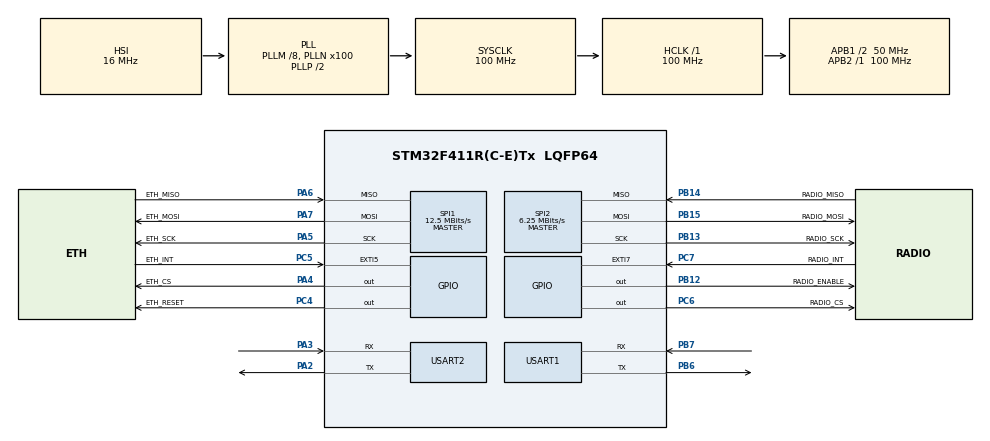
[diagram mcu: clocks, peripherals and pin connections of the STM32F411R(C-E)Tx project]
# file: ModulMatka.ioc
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Mcu.Family=STM32F4
Mcu.Name=STM32F411R(C-E)Tx
Mcu.Package=LQFP64
NVIC.EXTI9_5_IRQn=true\:0\:0\:false\:false\:true\:true
NVIC.PriorityGroup=NVIC_PRIORITYGROUP_4
PA13.Mode=Serial_Wire
PA13.Signal=SYS_JTMS-SWDIO
PA14.Mode=Serial_Wire
PA14.Signal=SYS_JTCK-SWCLK
PA2.Mode=Asynchronous
PA2.Signal=USART2_TX
PA3.Mode=Asynchronous
PA3.Signal=USART2_RX
PA4.GPIO_Label=ETH_CS
PA4.Signal=GPIO_Output
PA5.GPIO_Label=ETH_SCK
PA5.Mode=Full_Duplex_Master
PA5.Signal=SPI1_SCK
PA6.GPIO_Label=ETH_MISO
PA6.Mode=Full_Duplex_Master
PA6.Signal=SPI1_MISO
PA7.GPIO_Label=ETH_MOSI
PA7.Mode=Full_Duplex_Master
PA7.Signal=SPI1_MOSI
PB12.GPIO_Label=RADIO_ENABLE
PB12.Signal=GPIO_Output
PB13.GPIO_Label=RADIO_SCK
PB13.Mode=Full_Duplex_Master
PB13.Signal=SPI2_SCK
PB14.GPIO_Label=RADIO_MISO
PB14.Mode=Full_Duplex_Master
PB14.Signal=SPI2_MISO
PB15.GPIO_Label=RADIO_MOSI
PB15.Mode=Full_Duplex_Master
PB15.Signal=SPI2_MOSI
PB6.Mode=Asynchronous
PB6.Signal=USART1_TX
PB7.Mode=Asynchronous
PB7.Signal=USART1_RX
PC4.GPIO_Label=ETH_RESET
PC4.Signal=GPIO_Output
PC5.GPIO_Label=ETH_INT
PC5.GPIO_ModeDefaultEXTI=GPIO_MODE_IT_FALLING
PC5.Signal=GPXTI5
PC6.GPIO_Label=RADIO_CS
PC6.Signal=GPIO_Output
PC7.GPIO_Label=RADIO_INT
PC7.Signal=GPXTI7
ProjectManager.HeapSize=0x200
ProjectManager.StackSize=0x400
ProjectManager.TargetToolchain=TrueSTUDIO
RCC.48MHZClocksFreq_Value=50000000
RCC.AHBFreq_Value=100000000
RCC.APB1CLKDivider=RCC_HCLK_DIV2
RCC.APB1Freq_Value=50000000
RCC.APB1TimFreq_Value=100000000
RCC.APB2Freq_Value=100000000
RCC.APB2TimFreq_Value=100000000
RCC.CortexFreq_Value=100000000
RCC.HCLKFreq_Value=100000000
RCC.HSE_VALUE=25000000
RCC.HSI_VALUE=16000000
RCC.LSE_VALUE=32768
RCC.PLLM=8
RCC.PLLMUL=RCC_PLL_MUL12
RCC.PLLN=100
RCC.SYSCLKFreq_VALUE=100000000
RCC.SYSCLKSource=RCC_SYSCLKSOURCE_PLLCLK
RCC.VCOOutputFreq_Value=200000000
SPI1.BaudRatePrescaler=SPI_BAUDRATEPRESCALER_8
SPI1.CalculateBaudRate=12.5 MBits/s
SPI1.DataSize=SPI_DATASIZE_8BIT
SPI1.Direction=SPI_DIRECTION_2LINES
SPI1.Mode=SPI_MODE_MASTER
SPI1.VirtualType=VM_MASTER
SPI2.BaudRatePrescaler=SPI_BAUDRATEPRESCALER_8
SPI2.CalculateBaudRate=6.25 MBits/s
SPI2.DataSize=SPI_DATASIZE_8BIT
SPI2.Direction=SPI_DIRECTION_2LINES
SPI2.Mode=SPI_MODE_MASTER
SPI2.VirtualType=VM_MASTER
USART1.VirtualMode=VM_ASYNC
USART1.VirtualMode-Asynchronous=VM_ASYNC
USART2.VirtualMode=VM_ASYNC
board=ModulMatka

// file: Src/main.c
/**
  ******************************************************************************
  * @file           : main.c
  * @brief          : Main program body
  ******************************************************************************
  ** This notice applies to any and all portions of this file
  * that are not between comment pairs USER CODE BEGIN and
  * USER CODE END. Other portions of this file, whether
  * inserted by the user or by software development tools
  * are owned by their respective copyright owners.
  *
  * COPYRIGHT(c) 2018 STMicroelectronics
  *
  * Redistribution and use in source and binary forms, with or without modification,
  * are permitted provided that the following conditions are met:
  *   1. Redistributions of source code must retain the above copyright notice,
  *      this list of conditions and the following disclaimer.
  *   2. Redistributions in binary form must reproduce the above copyright notice,
  *      this list of conditions and the following disclaimer in the documentation
  *      and/or other materials provided with the distribution.
  *   3. Neither the name of STMicroelectronics nor the names of its contributors
  *      may be used to endorse or promote products derived from this software
  *      without specific prior written permission.
  *
  * THIS SOFTWARE IS PROVIDED BY THE COPYRIGHT HOLDERS AND CONTRIBUTORS "AS IS"
  * AND ANY EXPRESS OR IMPLIED WARRANTIES, INCLUDING, BUT NOT LIMITED TO, THE
  * IMPLIED WARRANTIES OF MERCHANTABILITY AND FITNESS FOR A PARTICULAR PURPOSE ARE
  * DISCLAIMED. IN NO EVENT SHALL THE COPYRIGHT HOLDER OR CONTRIBUTORS BE LIABLE
  * FOR ANY DIRECT, INDIRECT, INCIDENTAL, SPECIAL, EXEMPLARY, OR CONSEQUENTIAL
  * DAMAGES (INCLUDING, BUT NOT LIMITED TO, PROCUREMENT OF SUBSTITUTE GOODS OR
  * SERVICES; LOSS OF USE, DATA, OR PROFITS; OR BUSINESS INTERRUPTION) HOWEVER
  * CAUSED AND ON ANY THEORY OF LIABILITY, WHETHER IN CONTRACT, STRICT LIABILITY,
  * OR TORT (INCLUDING NEGLIGENCE OR OTHERWISE) ARISING IN ANY WAY OUT OF THE USE
  * OF THIS SOFTWARE, EVEN IF ADVISED OF THE POSSIBILITY OF SUCH DAMAGE.
  *
  ******************************************************************************
  */
#include "main.h"
#include "stm32f4xx_hal.h"
#include "spi.h"
#include "usart.h"
#include "gpio.h"

/* USER CODE BEGIN Includes */
#include "../Servers/udpecho_raw/udpecho_raw.h"
#include "enc28j60.h"
#include "tm_stm32f4_nrf24l01.h"
#include <stdlib.h>
#include "main_module_radio.h"
/* USER CODE END Includes */

/* USER CODE BEGIN PV */
/* Private variables ---------------------------------------------------------*/

/* USER CODE END PV */

void SystemClock_Config(void);

/* USER CODE BEGIN PFP */
/* Private function prototypes -----------------------------------------------*/

/* USER CODE END PFP */

int main(void)
{

  /* MCU Configuration----------------------------------------------------------*/

  /* Reset of all peripherals, Initializes the Flash interface and the Systick. */
  HAL_Init();

  /* Configure the system clock */
  SystemClock_Config();

  /* Initialize all configured peripherals */
  MX_GPIO_Init();
  MX_SPI1_Init();
  MX_SPI2_Init();
  MX_USART1_UART_Init();
  MX_USART2_UART_Init();
  /* USER CODE BEGIN 2 */
//	handModuleRadioInit();
//	char dataOut[32], dataIn[32];
//	TM_NRF24L01_Transmit_Status_t transmissionStatus;
	mainModuleRadioInit();
	TM_NRF24L01_Transmit_Status_t transmissionStatus;
	uint8_t dataIn[32];

	uint8_t isConnection = 1;
	uint8_t data = 0;
  /* USER CODE END 2 */

  /* Infinite loop */
  /* USER CODE BEGIN WHILE */
	while (1) {
		uint8_t a[] = { 'a' };
		TM_NRF24L01_Transmit(a);

		/* Turn on led to indicate sending */
		/* Wait for data to be sent */
		do {
			transmissionStatus = TM_NRF24L01_GetTransmissionStatus();
		} while (transmissionStatus == TM_NRF24L01_Transmit_Status_Sending);
		/* Go back to RX mode */
		TM_NRF24L01_PowerUpRx();

		for (int i = 0; !TM_NRF24L01_DataReady() && i < 10; i++) {
			HAL_Delay(10);
		}
		/* Get data from NRF24L01+ */
		if (TM_NRF24L01_DataReady()) {
			TM_NRF24L01_GetData(dataIn);
			printf("%s\r\n", dataIn);
		}

//		if (TM_NRF24L01_DataReady()) {
//			/* Get data from NRF24L01+ */
//			TM_NRF24L01_GetData((uint8_t*)dataIn);
////			printf("data received: %s", dataIn);
//
//			if (dataIn[0] == 'a') {
//				isConnection = 1;
//			}
//		}
//		if (isConnection == 1) {
//			sprintf(dataOut, "New data: %d", data);
//			TM_NRF24L01_Transmit((uint8_t*)dataOut);
//			/* Wait for data to be sent */
//			do {
//				transmissionStatus = TM_NRF24L01_GetTransmissionStatus();
//			} while (transmissionStatus == TM_NRF24L01_Transmit_Status_Sending);
//			data++;
//			isConnection = 0;
//			/* Go back to RX Mode */
//			TM_NRF24L01_PowerUpRx();
//		}
  /* USER CODE END WHILE */

	}

}

void SystemClock_Config(void)
{

  RCC_OscInitTypeDef RCC_OscInitStruct;
  RCC_ClkInitTypeDef RCC_ClkInitStruct;

    /**Configure the main internal regulator output voltage
    */
  __HAL_RCC_PWR_CLK_ENABLE();

  __HAL_PWR_VOLTAGESCALING_CONFIG(PWR_REGULATOR_VOLTAGE_SCALE1);

    /**Initializes the CPU, AHB and APB busses clocks
    */
  RCC_OscInitStruct.OscillatorType = RCC_OSCILLATORTYPE_HSI;
  RCC_OscInitStruct.HSIState = RCC_HSI_ON;
  RCC_OscInitStruct.HSICalibrationValue = 16;
  RCC_OscInitStruct.PLL.PLLState = RCC_PLL_ON;
  RCC_OscInitStruct.PLL.PLLSource = RCC_PLLSOURCE_HSI;
  RCC_OscInitStruct.PLL.PLLM = 8;
  RCC_OscInitStruct.PLL.PLLN = 100;
  RCC_OscInitStruct.PLL.PLLP = RCC_PLLP_DIV2;
  RCC_OscInitStruct.PLL.PLLQ = 4;
  if (HAL_RCC_OscConfig(&RCC_OscInitStruct) != HAL_OK)
  {
    _Error_Handler(__FILE__, __LINE__);
  }

    /**Initializes the CPU, AHB and APB busses clocks
    */
  RCC_ClkInitStruct.ClockType = RCC_CLOCKTYPE_HCLK|RCC_CLOCKTYPE_SYSCLK
                              |RCC_CLOCKTYPE_PCLK1|RCC_CLOCKTYPE_PCLK2;
  RCC_ClkInitStruct.SYSCLKSource = RCC_SYSCLKSOURCE_PLLCLK;
  RCC_ClkInitStruct.AHBCLKDivider = RCC_SYSCLK_DIV1;
  RCC_ClkInitStruct.APB1CLKDivider = RCC_HCLK_DIV2;
  RCC_ClkInitStruct.APB2CLKDivider = RCC_HCLK_DIV1;

  if (HAL_RCC_ClockConfig(&RCC_ClkInitStruct, FLASH_LATENCY_3) != HAL_OK)
  {
    _Error_Handler(__FILE__, __LINE__);
  }

    /**Configure the Systick interrupt time
    */
  HAL_SYSTICK_Config(HAL_RCC_GetHCLKFreq()/1000);

    /**Configure the Systick
    */
  HAL_SYSTICK_CLKSourceConfig(SYSTICK_CLKSOURCE_HCLK);

  /* SysTick_IRQn interrupt configuration */
  HAL_NVIC_SetPriority(SysTick_IRQn, 0, 0);
}

void _Error_Handler(char *file, int line)
{
	while (1) {
	}
}

/************************ (C) COPYRIGHT STMicroelectronics *****END OF FILE****/
